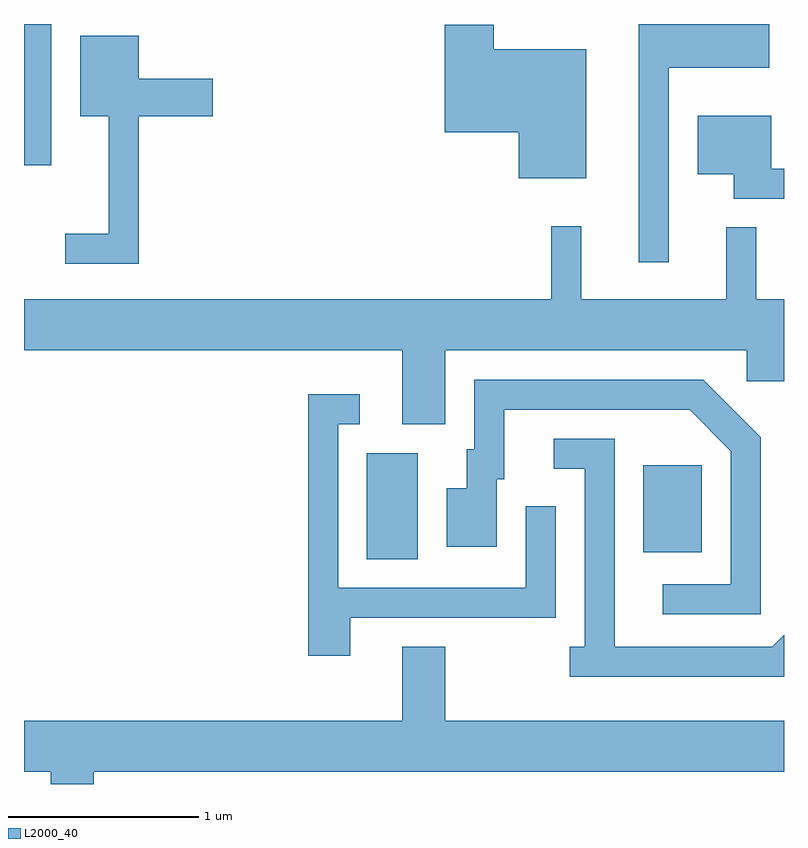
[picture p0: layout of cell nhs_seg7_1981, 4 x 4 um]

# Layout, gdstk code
import gdstk
lib = gdstk.Library(unit=1e-6, precision=1e-09)
def R(c, l, rs):  # rectangles x0, y0, x1, y1
    for r in rs: c.add(gdstk.rectangle(r[:2], r[2:], *l))
def P(c, l, *ps):  # polygons
    for p in ps: c.add(gdstk.Polygon(p, *l))
L2000_40 = (2000, 40)

nhs_seg7_1981 = lib.new_cell('nhs_seg7_1981')
R(nhs_seg7_1981, L2000_40, [(247.416,1715.436,247.684,1715.994), (248.871,1715.471,249.179,1715.929), (245.611,1717.508,245.754,1718.252)])
P(nhs_seg7_1981, L2000_40, [(249.004,1718.021),(249.534,1718.021),(249.534,1718.252),(248.846,1718.252),(248.846,1716.998),(249.004,1716.998)],
  [(248.569,1718.119),(248.084,1718.119),(248.084,1718.249),(247.826,1718.249),(247.826,1717.681),(248.216,1717.681),(248.216,1717.441),(248.569,1717.441)],
  [(246.214,1717.766),(246.604,1717.766),(246.604,1717.964),(246.214,1717.964),(246.214,1718.189),(245.906,1718.189),(245.906,1717.766),(246.056,1717.766),(246.056,1717.149),(245.828,1717.149),(245.828,1716.991),(246.214,1716.991)],
  [(249.611,1717.489),(249.544,1717.489),(249.544,1717.769),(249.156,1717.769),(249.156,1717.461),(249.346,1717.461),(249.346,1717.331),(249.611,1717.331)],
  [(247.829,1716.536),(249.416,1716.536),(249.416,1716.371),(249.611,1716.371),(249.611,1716.804),(249.464,1716.804),(249.464,1717.183),(249.306,1717.183),(249.306,1716.804),(248.544,1716.804),(248.544,1717.188),(248.386,1717.188),(248.386,1716.804),(245.611,1716.804),(245.611,1716.536),(247.601,1716.536),(247.601,1716.146),(247.829,1716.146)],
  [(249.489,1716.077),(249.187,1716.379),(247.981,1716.379),(247.981,1716.014),(247.941,1716.014),(247.941,1715.809),(247.836,1715.809),(247.836,1715.501),(248.099,1715.501),(248.099,1715.856),(248.139,1715.856),(248.139,1716.221),(249.114,1716.221),(249.331,1716.004),(249.331,1715.304),(248.973,1715.304),(248.973,1715.146),(249.489,1715.146)],
  [(247.329,1715.126),(248.409,1715.126),(248.409,1715.713),(248.251,1715.713),(248.251,1715.284),(247.264,1715.284),(247.264,1716.146),(247.378,1716.146),(247.378,1716.304),(247.106,1716.304),(247.106,1714.926),(247.329,1714.926)],
  [(249.611,1715.037),(249.549,1714.974),(248.719,1714.974),(248.719,1716.069),(248.398,1716.069),(248.398,1715.911),(248.561,1715.911),(248.561,1714.974),(248.483,1714.974),(248.483,1714.816),(249.611,1714.816)],
  [(245.979,1714.316),(249.611,1714.316),(249.611,1714.584),(247.829,1714.584),(247.829,1714.974),(247.601,1714.974),(247.601,1714.584),(245.611,1714.584),(245.611,1714.316),(245.751,1714.316),(245.751,1714.252),(245.979,1714.252)])

lib.write_gds('nhs_seg7_1981.gds')
